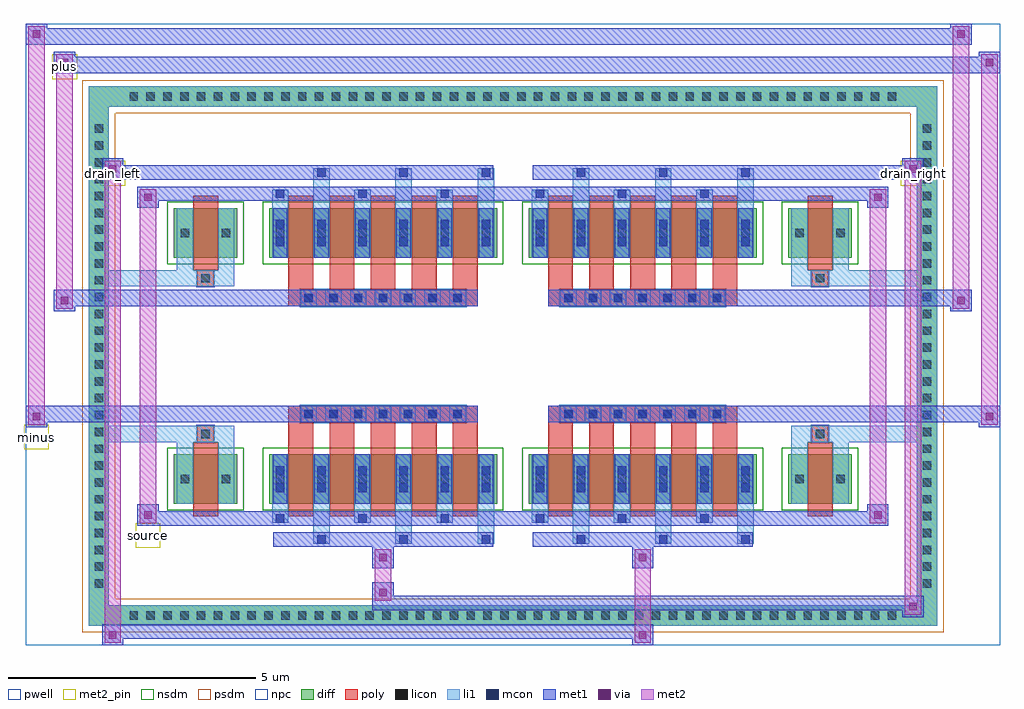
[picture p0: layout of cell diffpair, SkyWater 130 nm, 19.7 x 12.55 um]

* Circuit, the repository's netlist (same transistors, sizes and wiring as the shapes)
* NGSPICE file created from diffpair.ext - technology: sky130A

.subckt diffpair minus drain_right drain_left source plus
X0 drain_left plus source a_n1712_n1088# sky130_fd_pr__nfet_01v8 ad=0.39 pd=2.78 as=0.165 ps=1.33 w=1 l=0.5
X1 a_n1712_n1088# a_n1712_n1088# a_n1712_n1088# a_n1712_n1088# sky130_fd_pr__nfet_01v8 ad=0.39 pd=2.78 as=3.12 ps=22.24 w=1 l=0.5
X2 a_n1712_n1088# a_n1712_n1088# a_n1712_n1088# a_n1712_n1088# sky130_fd_pr__nfet_01v8 ad=0.39 pd=2.78 as=0 ps=0 w=1 l=0.5
X3 source minus drain_right a_n1712_n1088# sky130_fd_pr__nfet_01v8 ad=0.165 pd=1.33 as=0.165 ps=1.33 w=1 l=0.5
X4 drain_left plus source a_n1712_n1088# sky130_fd_pr__nfet_01v8 ad=0.39 pd=2.78 as=0.165 ps=1.33 w=1 l=0.5
X5 drain_right minus source a_n1712_n1088# sky130_fd_pr__nfet_01v8 ad=0.39 pd=2.78 as=0.165 ps=1.33 w=1 l=0.5
X6 drain_right minus source a_n1712_n1088# sky130_fd_pr__nfet_01v8 ad=0.165 pd=1.33 as=0.165 ps=1.33 w=1 l=0.5
X7 drain_right minus source a_n1712_n1088# sky130_fd_pr__nfet_01v8 ad=0.165 pd=1.33 as=0.165 ps=1.33 w=1 l=0.5
X8 source plus drain_left a_n1712_n1088# sky130_fd_pr__nfet_01v8 ad=0.165 pd=1.33 as=0.165 ps=1.33 w=1 l=0.5
X9 drain_left plus source a_n1712_n1088# sky130_fd_pr__nfet_01v8 ad=0.165 pd=1.33 as=0.165 ps=1.33 w=1 l=0.5
X10 drain_right minus source a_n1712_n1088# sky130_fd_pr__nfet_01v8 ad=0.39 pd=2.78 as=0.165 ps=1.33 w=1 l=0.5
X11 source minus drain_right a_n1712_n1088# sky130_fd_pr__nfet_01v8 ad=0.165 pd=1.33 as=0.165 ps=1.33 w=1 l=0.5
X12 a_n1712_n1088# a_n1712_n1088# a_n1712_n1088# a_n1712_n1088# sky130_fd_pr__nfet_01v8 ad=0.39 pd=2.78 as=0 ps=0 w=1 l=0.5
X13 drain_left plus source a_n1712_n1088# sky130_fd_pr__nfet_01v8 ad=0.165 pd=1.33 as=0.39 ps=2.78 w=1 l=0.5
X14 drain_right minus source a_n1712_n1088# sky130_fd_pr__nfet_01v8 ad=0.165 pd=1.33 as=0.39 ps=2.78 w=1 l=0.5
X15 source minus drain_right a_n1712_n1088# sky130_fd_pr__nfet_01v8 ad=0.165 pd=1.33 as=0.165 ps=1.33 w=1 l=0.5
X16 source plus drain_left a_n1712_n1088# sky130_fd_pr__nfet_01v8 ad=0.165 pd=1.33 as=0.165 ps=1.33 w=1 l=0.5
X17 source plus drain_left a_n1712_n1088# sky130_fd_pr__nfet_01v8 ad=0.165 pd=1.33 as=0.165 ps=1.33 w=1 l=0.5
X18 source minus drain_right a_n1712_n1088# sky130_fd_pr__nfet_01v8 ad=0.165 pd=1.33 as=0.165 ps=1.33 w=1 l=0.5
X19 a_n1712_n1088# a_n1712_n1088# a_n1712_n1088# a_n1712_n1088# sky130_fd_pr__nfet_01v8 ad=0.39 pd=2.78 as=0 ps=0 w=1 l=0.5
X20 source plus drain_left a_n1712_n1088# sky130_fd_pr__nfet_01v8 ad=0.165 pd=1.33 as=0.165 ps=1.33 w=1 l=0.5
X21 drain_left plus source a_n1712_n1088# sky130_fd_pr__nfet_01v8 ad=0.165 pd=1.33 as=0.39 ps=2.78 w=1 l=0.5
X22 drain_left plus source a_n1712_n1088# sky130_fd_pr__nfet_01v8 ad=0.165 pd=1.33 as=0.165 ps=1.33 w=1 l=0.5
X23 drain_right minus source a_n1712_n1088# sky130_fd_pr__nfet_01v8 ad=0.165 pd=1.33 as=0.39 ps=2.78 w=1 l=0.5
.ends

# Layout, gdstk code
import gdstk
lib = gdstk.Library(unit=1e-6, precision=5e-09)
def R(c, l, rs):  # rectangles x0, y0, x1, y1
    for r in rs: c.add(gdstk.rectangle(r[:2], r[2:], *l))
def A(c, l, x, y, w, h, nx, ny, dx, dy):  # array of equal rectangles
    R(c, l, [(x+i*dx, y+j*dy, x+i*dx+w, y+j*dy+h) for i in range(nx) for j in range(ny)])
def P(c, l, *ps):  # polygons
    for p in ps: c.add(gdstk.Polygon(p, *l))
pwell = (64, 44)
diff = (65, 20)
poly = (66, 20)
licon = (66, 44)
li1 = (67, 20)
mcon = (67, 44)
met1 = (68, 20)
via = (68, 44)
met2_pin = (69, 16)
met2 = (69, 20)
nsdm = (93, 44)
psdm = (94, 20)
npc = (95, 20)

diffpair = lib.new_cell('diffpair')
R(diffpair, pwell, [(-9.83,-5.84,9.83,6.71), (-7.15,-4.03,-0.01,-0.805), (0.01,-4.03,7.15,-0.805), (-7.15,0.805,-0.01,4.03), (0.01,0.805,7.15,4.03)])
A(diffpair, diff, -7.855, -5.44, 0.41, 0.41, 46, 2, 0.34, 10.47)
A(diffpair, diff, -8.56, -4.795, 0.41, 0.41, 1, 28, 0, 0.34)
A(diffpair, diff, 8.15, -4.795, 0.41, 0.41, 1, 28, 0, 0.34)
R(diffpair, diff, [(-7.855,-5.44,7.855,-5.03), (-8.56,-4.795,-8.15,4.795), (8.15,-4.795,8.56,4.795), (-6.84,-2.985,-5.56,-1.985), (-4.92,-2.985,-0.32,-1.985), (0.32,-2.985,4.92,-1.985), (5.56,-2.985,6.84,-1.985), (-6.84,1.985,-5.56,2.985), (-4.92,1.985,-0.32,2.985), (0.32,1.985,4.92,2.985), (5.56,1.985,6.84,2.985), (-7.855,5.03,7.855,5.44)])
P(diffpair, diff, [(8.56,5.44),(-8.56,5.44),(-8.56,-5.03),(-8.15,-5.03),(-8.15,5.03),(8.15,5.03),(8.15,-5.03),(-8.15,-5.03),(-8.56,-5.03),(-8.56,-5.44),(8.56,-5.44)])
A(diffpair, poly, -4.53, -3.235, 0.5, 1.5, 5, 2, 0.83, 4.97)
A(diffpair, poly, 0.71, -3.235, 0.5, 1.5, 5, 2, 0.83, 4.97)
A(diffpair, poly, -4.53, -1.735, 0.5, 0.4, 5, 2, 0.83, 3.07)
A(diffpair, poly, 0.71, -1.735, 0.5, 0.4, 5, 2, 0.83, 3.07)
A(diffpair, poly, -4.285, -1.335, 0.33, 0.33, 7, 2, 0.5, 2.34)
A(diffpair, poly, 0.955, -1.335, 0.33, 0.33, 7, 2, 0.5, 2.34)
R(diffpair, poly, [(-6.45,-3.235,-5.95,-1.735), (5.95,-3.235,6.45,-1.735), (-6.365,-1.735,-6.035,-1.405), (-6.365,-1.735,-6.035,-1.405), (6.035,-1.735,6.365,-1.405), (6.035,-1.735,6.365,-1.405), (-4.53,-1.335,-0.71,-1.005), (0.71,-1.335,4.53,-1.005), (-4.53,1.005,-0.71,1.335), (0.71,1.005,4.53,1.335), (-6.365,1.405,-6.035,1.735), (-6.365,1.405,-6.035,1.735), (6.035,1.405,6.365,1.735), (6.035,1.405,6.365,1.735), (-6.45,1.735,-5.95,3.235), (5.95,1.735,6.45,3.235)])
A(diffpair, licon, -7.735, -5.32, 0.17, 0.17, 46, 2, 0.34, 10.47)
A(diffpair, licon, -8.44, -4.675, 0.17, 0.17, 1, 28, 0, 0.34)
A(diffpair, licon, 8.27, -4.675, 0.17, 0.17, 1, 28, 0, 0.34)
A(diffpair, licon, -4.78, -2.57, 0.17, 0.17, 6, 2, 0.83, 4.97)
A(diffpair, licon, 0.46, -2.57, 0.17, 0.17, 6, 2, 0.83, 4.97)
A(diffpair, licon, -4.205, -1.255, 0.17, 0.17, 7, 2, 0.5, 2.34)
A(diffpair, licon, 1.035, -1.255, 0.17, 0.17, 7, 2, 0.5, 2.34)
R(diffpair, licon, [(-6.7,-2.57,-6.53,-2.4), (-5.87,-2.57,-5.7,-2.4), (5.7,-2.57,5.87,-2.4), (6.53,-2.57,6.7,-2.4), (-6.285,-1.655,-6.115,-1.485), (6.115,-1.655,6.285,-1.485), (-6.285,1.485,-6.115,1.655), (6.115,1.485,6.285,1.655), (-6.7,2.4,-6.53,2.57), (-5.87,2.4,-5.7,2.57), (5.7,2.4,5.87,2.57), (6.53,2.4,6.7,2.57)])
A(diffpair, li1, -7.815, -5.4, 0.33, 0.33, 46, 2, 0.34, 10.47)
A(diffpair, li1, -8.52, -4.755, 0.33, 0.33, 1, 28, 0, 0.34)
A(diffpair, li1, 8.19, -4.755, 0.33, 0.33, 1, 28, 0, 0.34)
A(diffpair, li1, -4.03, -3.79, 0.33, 0.805, 3, 2, 1.66, 6.775)
A(diffpair, li1, -3.95, -3.79, 0.17, 0.17, 3, 2, 1.66, 7.41)
A(diffpair, li1, 1.21, -3.79, 0.33, 0.805, 3, 2, 1.66, 6.775)
A(diffpair, li1, 1.29, -3.79, 0.17, 0.17, 3, 2, 1.66, 7.41)
A(diffpair, li1, -4.86, -3.36, 0.33, 0.375, 3, 2, 1.66, 6.345)
A(diffpair, li1, -4.78, -3.36, 0.17, 0.17, 3, 2, 1.66, 6.55)
A(diffpair, li1, 0.38, -3.36, 0.33, 0.375, 3, 2, 1.66, 6.345)
A(diffpair, li1, 0.46, -3.36, 0.17, 0.17, 3, 2, 1.66, 6.55)
A(diffpair, li1, -4.86, -2.985, 0.33, 1, 6, 2, 0.83, 4.97)
A(diffpair, li1, 0.38, -2.985, 0.33, 1, 6, 2, 0.83, 4.97)
A(diffpair, li1, -4.78, -2.75, 0.17, 0.17, 6, 2, 0.83, 0.36)
A(diffpair, li1, -4.78, -2.75, 0.17, 0.53, 6, 2, 0.83, 4.97)
A(diffpair, li1, 0.46, -2.75, 0.17, 0.17, 6, 2, 0.83, 0.36)
A(diffpair, li1, 0.46, -2.75, 0.17, 0.53, 6, 2, 0.83, 4.97)
A(diffpair, li1, -4.86, -2.65, 0.33, 0.33, 6, 2, 0.83, 4.97)
A(diffpair, li1, 0.38, -2.65, 0.33, 0.33, 6, 2, 0.83, 4.97)
A(diffpair, li1, -4.285, -1.335, 0.33, 0.33, 7, 2, 0.5, 2.34)
A(diffpair, li1, 0.955, -1.335, 0.33, 0.33, 7, 2, 0.5, 2.34)
A(diffpair, li1, -4.78, 2.22, 0.17, 0.17, 6, 2, 0.83, 0.36)
A(diffpair, li1, 0.46, 2.22, 0.17, 0.17, 6, 2, 0.83, 0.36)
R(diffpair, li1, [(-8.56,-5.44,-8.15,-5.03), (-8.56,-5.44,-8.15,-5.03), (-8.15,-5.44,8.15,-5.03), (8.15,-5.44,8.56,-5.03), (8.15,-5.44,8.56,-5.03), (-8.56,-5.03,-8.15,5.03), (8.15,-5.03,8.56,5.03), (-6.78,-2.985,-6.45,-1.985), (-5.95,-2.985,-5.62,-1.985), (5.62,-2.985,5.95,-1.985), (6.45,-2.985,6.78,-1.985), (-6.78,-2.65,-6.45,-2.32), (-5.95,-2.65,-5.62,-2.32), (5.62,-2.65,5.95,-2.32), (6.45,-2.65,6.78,-2.32), (-6.78,-1.985,-6.45,-1.405), (-5.95,-1.985,-5.62,-1.405), (5.62,-1.985,5.95,-1.405), (6.45,-1.985,6.78,-1.405), (-8.56,-1.735,-6.365,-1.405), (-6.78,-1.735,-6.365,-1.405), (-6.365,-1.735,-6.035,-1.405), (-6.035,-1.735,-5.62,-1.405), (5.62,-1.735,6.035,-1.405), (6.035,-1.735,6.365,-1.405), (6.035,-1.735,8.56,-1.405), (6.365,-1.735,6.78,-1.405), (-8.56,1.405,-6.365,1.735), (-6.78,1.405,-6.365,1.735), (-6.78,1.405,-6.45,1.985), (-6.365,1.405,-6.035,1.735), (-6.035,1.405,-5.62,1.735), (-5.95,1.405,-5.62,1.985), (5.62,1.405,6.035,1.735), (5.62,1.405,5.95,1.985), (6.035,1.405,6.365,1.735), (6.035,1.405,8.56,1.735), (6.365,1.405,6.78,1.735), (6.45,1.405,6.78,1.985), (-6.78,1.985,-6.45,2.985), (-5.95,1.985,-5.62,2.985), (5.62,1.985,5.95,2.985), (6.45,1.985,6.78,2.985), (-6.78,2.32,-6.45,2.65), (-5.95,2.32,-5.62,2.65), (5.62,2.32,5.95,2.65), (6.45,2.32,6.78,2.65), (-8.56,5.03,-8.15,5.44), (-8.56,5.03,-8.15,5.44), (-8.15,5.03,8.15,5.44), (8.15,5.03,8.56,5.44), (8.15,5.03,8.56,5.44)])
A(diffpair, mcon, -3.95, -3.79, 0.17, 0.17, 3, 2, 1.66, 7.41)
A(diffpair, mcon, 1.29, -3.79, 0.17, 0.17, 3, 2, 1.66, 7.41)
A(diffpair, mcon, -4.78, -3.36, 0.17, 0.17, 3, 2, 1.66, 6.55)
A(diffpair, mcon, 0.46, -3.36, 0.17, 0.17, 3, 2, 1.66, 6.55)
A(diffpair, mcon, -4.78, -2.75, 0.17, 0.17, 6, 2, 0.83, 0.36)
A(diffpair, mcon, 0.46, -2.75, 0.17, 0.17, 6, 2, 0.83, 0.36)
A(diffpair, mcon, -4.205, -1.255, 0.17, 0.17, 7, 2, 0.5, 2.34)
A(diffpair, mcon, 1.035, -1.255, 0.17, 0.17, 7, 2, 0.5, 2.34)
A(diffpair, mcon, -4.78, 2.22, 0.17, 0.17, 6, 2, 0.83, 0.36)
A(diffpair, mcon, 0.46, 2.22, 0.17, 0.17, 6, 2, 0.83, 0.36)
A(diffpair, met1, -4.01, -3.85, 0.29, 0.29, 3, 2, 1.66, 7.41)
A(diffpair, met1, 1.23, -3.85, 0.29, 0.29, 3, 2, 1.66, 7.41)
A(diffpair, met1, -4.84, -3.42, 0.29, 0.29, 3, 2, 1.66, 6.55)
A(diffpair, met1, 0.4, -3.42, 0.29, 0.29, 3, 2, 1.66, 6.55)
A(diffpair, met1, -4.84, -2.985, 0.29, 1, 6, 2, 0.83, 4.97)
A(diffpair, met1, 0.4, -2.985, 0.29, 1, 6, 2, 0.83, 4.97)
A(diffpair, met1, -4.84, -2.81, 0.29, 0.29, 6, 2, 0.83, 0.36)
A(diffpair, met1, 0.4, -2.81, 0.29, 0.29, 6, 2, 0.83, 0.36)
A(diffpair, met1, -4.265, -1.315, 0.29, 0.29, 7, 2, 0.5, 2.34)
A(diffpair, met1, 0.975, -1.315, 0.29, 0.29, 7, 2, 0.5, 2.34)
A(diffpair, met1, -4.84, 2.16, 0.29, 0.29, 6, 2, 0.83, 0.36)
A(diffpair, met1, 0.4, 2.16, 0.29, 0.29, 6, 2, 0.83, 0.36)
R(diffpair, met1, [(-8.29,-5.84,-7.86,-5.41), (2.405,-5.84,2.835,-5.41), (-8.29,-5.7,2.835,-5.41), (7.86,-5.27,8.29,-4.84), (-2.835,-5.13,8.29,-4.84), (-2.835,-4.99,-2.405,-4.56), (-2.835,-4.28,-2.405,-3.85), (2.405,-4.28,2.835,-3.85), (-4.84,-3.85,-0.4,-3.56), (0.4,-3.85,4.84,-3.56), (-7.58,-3.42,-7.15,-2.99), (-7.58,-3.42,-4.84,-3.13), (-4.84,-3.42,-0.4,-3.13), (-0.4,-3.42,0.4,-3.13), (0.4,-3.42,4.84,-3.13), (4.84,-3.42,7.58,-3.13), (7.15,-3.42,7.58,-2.99), (-9.83,-1.435,-9.4,-1.005), (9.4,-1.435,9.83,-1.005), (-9.83,-1.335,-0.71,-1.005), (-4.53,-1.335,-0.71,-1.005), (0.71,-1.335,4.53,-1.005), (0.71,-1.335,9.83,-1.005), (-9.26,0.905,-8.83,1.335), (8.83,0.905,9.26,1.335), (-9.26,1.005,-4.53,1.335), (-4.53,1.005,-0.71,1.335), (0.71,1.005,4.53,1.335), (4.53,1.005,9.26,1.335), (-7.58,2.99,-7.15,3.42), (7.15,2.99,7.58,3.42), (-7.58,3.13,-4.84,3.42), (-4.84,3.13,-0.4,3.42), (-0.4,3.13,0.4,3.42), (0.4,3.13,4.84,3.42), (4.84,3.13,7.58,3.42), (-8.29,3.56,-7.86,3.99), (-8.29,3.56,-4.84,3.85), (-4.84,3.56,-0.4,3.85), (0.4,3.56,4.84,3.85), (4.84,3.56,8.29,3.85), (7.86,3.56,8.29,3.99), (-9.26,5.71,-8.83,6.14), (-9.26,5.71,-7.15,6.04), (-7.15,5.71,7.15,6.04), (7.15,5.71,9.83,6.04), (9.4,5.71,9.83,6.14), (-9.83,6.28,-9.4,6.71), (-9.83,6.28,-7.15,6.61), (-7.15,6.28,7.15,6.61), (7.15,6.28,9.26,6.61), (8.83,6.28,9.26,6.71)])
R(diffpair, via, [(-8.15,-5.7,-8,-5.55), (2.545,-5.7,2.695,-5.55), (8,-5.13,8.15,-4.98), (-2.695,-4.85,-2.545,-4.7), (-2.695,-4.14,-2.545,-3.99), (2.545,-4.14,2.695,-3.99), (-7.44,-3.28,-7.29,-3.13), (7.29,-3.28,7.44,-3.13), (-9.69,-1.295,-9.54,-1.145), (9.54,-1.295,9.69,-1.145), (-9.12,1.045,-8.97,1.195), (8.97,1.045,9.12,1.195), (-7.44,3.13,-7.29,3.28), (7.29,3.13,7.44,3.28), (-8.15,3.7,-8,3.85), (8,3.7,8.15,3.85), (-9.12,5.85,-8.97,6), (9.54,5.85,9.69,6), (-9.69,6.42,-9.54,6.57), (8.97,6.42,9.12,6.57)])
R(diffpair, met2_pin, [(-7.615,-3.87,-7.115,-3.37), (-9.865,-1.885,-9.365,-1.385), (-8.325,3.44,-7.825,3.94), (7.825,3.44,8.325,3.94), (-9.295,5.59,-8.795,6.09)])
R(diffpair, met2, [(-8.24,-5.79,-7.91,-5.46), (-8.24,-5.79,-7.91,3.94), (2.455,-5.79,2.785,-5.46), (2.455,-5.46,2.785,-4.23), (7.91,-5.22,8.24,-4.89), (7.91,-5.22,8.24,3.94), (-2.785,-4.94,-2.455,-4.61), (-2.785,-4.61,-2.455,-4.23), (-2.785,-4.23,-2.455,-3.9), (2.455,-4.23,2.785,-3.9), (-7.53,-3.37,-7.2,-3.04), (-7.53,-3.37,-7.2,3.37), (7.2,-3.37,7.53,-3.04), (7.2,-3.37,7.53,3.37), (-9.78,-1.385,-9.45,-1.055), (-9.78,-1.385,-9.45,6.66), (9.45,-1.385,9.78,-1.055), (9.45,-1.385,9.78,6.09), (-9.21,0.955,-8.88,1.285), (-9.21,0.955,-8.88,6.09), (8.88,0.955,9.21,1.285), (8.88,0.955,9.21,6.66), (-7.53,3.04,-7.2,3.37), (7.2,3.04,7.53,3.37), (-8.24,3.61,-7.91,3.94), (7.91,3.61,8.24,3.94), (-9.21,5.76,-8.88,6.09), (9.45,5.76,9.78,6.09), (-9.78,6.33,-9.45,6.66), (8.88,6.33,9.21,6.66)])
P(diffpair, met2, [(9.78,-1.385),(9.78,-1.385),(9.78,-1.055),(9.78,-1.055)],
  [(9.78,5.76),(9.78,5.76),(9.78,6.09),(9.78,6.09)],
  [(-9.45,-1.385),(-9.45,-1.385),(-9.45,-1.055),(-9.45,-1.055)],
  [(-9.45,6.33),(-9.45,6.33),(-9.45,6.66),(-9.45,6.66)],
  [(9.21,0.955),(9.21,0.955),(9.21,1.285),(9.21,1.285)],
  [(9.21,6.33),(9.21,6.33),(9.21,6.66),(9.21,6.66)],
  [(-8.88,0.955),(-8.88,0.955),(-8.88,1.285),(-8.88,1.285)],
  [(-8.88,5.76),(-8.88,5.76),(-8.88,6.09),(-8.88,6.09)],
  [(-7.91,-5.79),(-7.91,-5.79),(-7.91,-5.46),(-7.91,-5.46)],
  [(-7.91,3.61),(-7.91,3.61),(-7.91,3.94),(-7.91,3.94)],
  [(8.24,-5.22),(8.24,-5.22),(8.24,-4.89),(8.24,-4.89)],
  [(8.24,3.61),(8.24,3.61),(8.24,3.94),(8.24,3.94)],
  [(-7.2,-3.37),(-7.2,-3.37),(-7.2,-3.04),(-7.2,-3.04)],
  [(-7.2,3.04),(-7.2,3.04),(-7.2,3.37),(-7.2,3.37)],
  [(7.53,-3.37),(7.53,-3.37),(7.53,-3.04),(7.53,-3.04)],
  [(7.53,3.04),(7.53,3.04),(7.53,3.37),(7.53,3.37)])
R(diffpair, nsdm, [(-6.97,-3.115,-5.43,-1.855), (-5.05,-3.115,-0.19,-1.855), (0.19,-3.115,5.05,-1.855), (5.43,-3.115,6.97,-1.855), (-6.97,1.855,-5.43,3.115), (-5.05,1.855,-0.19,3.115), (0.19,1.855,5.05,3.115), (5.43,1.855,6.97,3.115)])
P(diffpair, psdm, [(8.69,5.57),(-8.69,5.57),(-8.69,-4.9),(-8.02,-4.9),(-8.02,4.9),(8.02,4.9),(8.02,-4.9),(-8.02,-4.9),(-8.69,-4.9),(-8.69,-5.57),(8.69,-5.57)])
A(diffpair, npc, -4.305, -1.355, 0.37, 0.37, 7, 2, 0.5, 2.34)
A(diffpair, npc, 0.935, -1.355, 0.37, 0.37, 7, 2, 0.5, 2.34)
R(diffpair, npc, [(-6.385,-1.755,-6.015,-1.385), (6.015,-1.755,6.385,-1.385), (-4.305,-1.355,-3.435,-0.985), (-4.305,-1.355,-3.435,-0.985), (-3.805,-1.355,-2.935,-0.985), (-3.805,-1.355,-2.935,-0.985), (-3.305,-1.355,-2.435,-0.985), (-3.305,-1.355,-2.435,-0.985), (-2.805,-1.355,-1.935,-0.985), (-2.805,-1.355,-1.935,-0.985), (-2.305,-1.355,-1.435,-0.985), (-2.305,-1.355,-1.435,-0.985), (-1.805,-1.355,-0.935,-0.985), (-1.805,-1.355,-0.935,-0.985), (0.935,-1.355,1.805,-0.985), (0.935,-1.355,1.805,-0.985), (1.435,-1.355,2.305,-0.985), (1.435,-1.355,2.305,-0.985), (1.935,-1.355,2.805,-0.985), (1.935,-1.355,2.805,-0.985), (2.435,-1.355,3.305,-0.985), (2.435,-1.355,3.305,-0.985), (2.935,-1.355,3.805,-0.985), (2.935,-1.355,3.805,-0.985), (3.435,-1.355,4.305,-0.985), (3.435,-1.355,4.305,-0.985), (-4.305,0.985,-3.435,1.355), (-4.305,0.985,-3.435,1.355), (-3.805,0.985,-2.935,1.355), (-3.805,0.985,-2.935,1.355), (-3.305,0.985,-2.435,1.355), (-3.305,0.985,-2.435,1.355), (-2.805,0.985,-1.935,1.355), (-2.805,0.985,-1.935,1.355), (-2.305,0.985,-1.435,1.355), (-2.305,0.985,-1.435,1.355), (-1.805,0.985,-0.935,1.355), (-1.805,0.985,-0.935,1.355), (0.935,0.985,1.805,1.355), (0.935,0.985,1.805,1.355), (1.435,0.985,2.305,1.355), (1.435,0.985,2.305,1.355), (1.935,0.985,2.805,1.355), (1.935,0.985,2.805,1.355), (2.435,0.985,3.305,1.355), (2.435,0.985,3.305,1.355), (2.935,0.985,3.805,1.355), (2.935,0.985,3.805,1.355), (3.435,0.985,4.305,1.355), (3.435,0.985,4.305,1.355), (-6.385,1.385,-6.015,1.755), (6.015,1.385,6.385,1.755)])
diffpair.add(gdstk.Label('minus', (-9.615,-1.635), layer=69, texttype=5))
diffpair.add(gdstk.Label('drain_right', (8.075,3.69), layer=69, texttype=5))
diffpair.add(gdstk.Label('drain_left', (-8.075,3.69), layer=69, texttype=5))
diffpair.add(gdstk.Label('source', (-7.365,-3.62), layer=69, texttype=5))
diffpair.add(gdstk.Label('plus', (-9.045,5.84), layer=69, texttype=5))

lib.write_gds('diffpair.gds')
